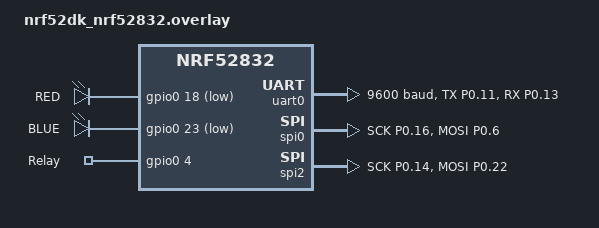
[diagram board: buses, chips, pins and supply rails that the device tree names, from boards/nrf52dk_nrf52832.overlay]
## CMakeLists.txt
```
cmake_minimum_required(VERSION 3.20.0)
find_package(Zephyr REQUIRED HINTS $ENV{ZEPHYR_BASE})
project(lora_tx_water_level)

target_sources(app PRIVATE
	src/main.c
	src/sw_uart.c
	src/sw_uart_rx.c
)
```

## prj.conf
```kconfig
# UART0 (HW) for LoRa — interrupt driven for RX1 capture
CONFIG_SERIAL=y
CONFIG_UART_INTERRUPT_DRIVEN=y
CONFIG_UART_USE_RUNTIME_CONFIGURE=y

# SPI for SW-UART TX2 (SPI1) + TX3 (SPI2)
# PAN 58 only affects RX mode; we use SPIM TX-only so override is safe.
CONFIG_SPI=y
CONFIG_SOC_NRF52832_ALLOW_SPIM_DESPITE_PAN_58=y

# GPIO
CONFIG_GPIO=y

# RTT console for build-time debug (printk goes here, not to LoRa UART)
CONFIG_USE_SEGGER_RTT=y
CONFIG_RTT_CONSOLE=y
CONFIG_UART_CONSOLE=n
CONFIG_CONSOLE=y
CONFIG_PRINTK=y

# Ring buffer for RX byte queuing
CONFIG_RING_BUFFER=y

# Reduce code size
CONFIG_BOOT_BANNER=n
```

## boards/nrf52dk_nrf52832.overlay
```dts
/*
 * UTTEC BLE Module — Modbus(HW UART) + LoRa SW-UART (TX, 2026-06-07 final)
 *
 *   HW UART0 (P0.15 TX / P0.02 RX, 9600 8N1) → MAX485 (RS485 Modbus) ★ 정확성 우선
 *   SPI1 MOSI (P0.11)  → SW-UART LoRa TX (9600) → E22 RXD
 *   SPI0 MOSI (P0.06)  → SW-UART USB-VCOM (9600) display
 *   SPI2 MOSI (P0.22)  → SW-UART Debug (115200)
 *
 *   J28 14pin 핀맵 (사용자 박제 2026-06-09 — Pin 11/13 추가):
 *     Pin 1  P0.11  LoRa E22 RXD ← SPI1 MOSI (SW-UART)
 *     Pin 2  P0.15  MAX485 DI ← HW UART0 TX
 *     Pin 3  P0.13  (unused — TX만, LoRa RX 없음)
 *     Pin 4  P0.02  MAX485 RO → HW UART0 RX
 *     Pin 5  (미확정)
 *     Pin 6  P0.17  LoRa M0 (Normal = LOW)
 *     Pin 7  P0.22  Debug TX (SPI2 MOSI)
 *     Pin 8  P0.19  LoRa M1 (Normal = LOW)
 *     Pin 9  P0.24  MAX485 DE/RE
 *     Pin 10 P0.20  LoRa AUX
 *     Pin 11 3.3V   전원 ⭐
 *     Pin 12 P0.04  Relay (active low buzzer, level<400 → ON)
 *     Pin 13 GND    접지 ⭐
 *     Pin 14 (미확정)
 *
 *   E22 setup: 별도 (lora_test_tx 또는 lora_read_reg에서 1회 setup 후 유지).
 *   REG0=0x60 (9600 + 0.3k air), REG1=0x00 (max 30 dBm), REG2=0x48 (CH72).
 */

&pinctrl {
	/* UART0 default = LoRa (TX=P0.11, RX=P0.13) — main role.
	 * RS485 (P0.15/P0.02)는 PSEL runtime 변경으로 임시 사용. */
	uart0_default: uart0_default {
		group1 { psels = <NRF_PSEL(UART_TX, 0, 11)>; };
		group2 { psels = <NRF_PSEL(UART_RX, 0, 13)>; bias-pull-up; };
	};

	uart0_sleep: uart0_sleep {
		group1 {
			psels = <NRF_PSEL(UART_TX, 0, 11)>, <NRF_PSEL(UART_RX, 0, 13)>;
			low-power-enable;
		};
	};

	/* SPI1 disabled — P0.11은 UART0 LoRa default가 사용 */

	/* SPI2 MOSI = Debug TX (P0.22, 115200). dummy SCK = P0.14. */
	spi2_default_alt: spi2_default_alt {
		group1 {
			psels = <NRF_PSEL(SPIM_SCK, 0, 14)>, <NRF_PSEL(SPIM_MOSI, 0, 22)>;
			bias-pull-up;
		};
	};

	spi2_sleep_alt: spi2_sleep_alt {
		group1 {
			psels = <NRF_PSEL(SPIM_SCK, 0, 14)>, <NRF_PSEL(SPIM_MOSI, 0, 22)>;
			low-power-enable; bias-pull-up;
		};
	};

	/* SPI0 MOSI = USB-VCOM TX (P0.06, 9600). dummy SCK = P0.16. */
	spi0_default_alt: spi0_default_alt {
		group1 {
			psels = <NRF_PSEL(SPIM_SCK, 0, 16)>, <NRF_PSEL(SPIM_MOSI, 0, 6)>;
			bias-pull-up;
		};
	};

	spi0_sleep_alt: spi0_sleep_alt {
		group1 {
			psels = <NRF_PSEL(SPIM_SCK, 0, 16)>, <NRF_PSEL(SPIM_MOSI, 0, 6)>;
			low-power-enable; bias-pull-up;
		};
	};
};

&uart0 {
	status = "okay";
	current-speed = <9600>;
	pinctrl-0 = <&uart0_default>;
	pinctrl-1 = <&uart0_sleep>;
	pinctrl-names = "default", "sleep";
};

&i2c0 { status = "disabled"; };
&i2c1 { status = "disabled"; };

&spi0 {
	status = "okay"; compatible = "nordic,nrf-spim";
	pinctrl-0 = <&spi0_default_alt>; pinctrl-1 = <&spi0_sleep_alt>;
	pinctrl-names = "default", "sleep";
};

&spi1 { status = "disabled"; };

&spi2 {
	status = "okay"; compatible = "nordic,nrf-spim";
	pinctrl-0 = <&spi2_default_alt>; pinctrl-1 = <&spi2_sleep_alt>;
	pinctrl-names = "default", "sleep";
};

/ {
	aliases {
		uttec-led-red = &uttec_led_red;
		uttec-led-blue = &uttec_led_blue;
		uttec-relay = &uttec_relay;
	};

	uttec_leds {
		compatible = "gpio-leds";
		uttec_led_red: led_red { gpios = <&gpio0 18 GPIO_ACTIVE_LOW>; label = "RED"; };
		uttec_led_blue: led_blue { gpios = <&gpio0 23 GPIO_ACTIVE_LOW>; label = "BLUE"; };
	};

	uttec_relays {
		compatible = "gpio-leds";
		uttec_relay: relay_0 { gpios = <&gpio0 4 GPIO_ACTIVE_HIGH>; label = "Relay"; };
	};
};
```

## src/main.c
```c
/*
 * UTTEC BLE Module — Modbus + LoRa TX (time-multiplexed HW UART, 3s cycle, 2026-06-07)
 *
 *   HW UART0 (NRF_UARTE0) 핀맵 동적 전환:
 *     [RS485 phase] PSEL.TXD = P0.15, PSEL.RXD = P0.02 — Modbus 폴링
 *     [LoRa  phase] PSEL.TXD = P0.11, PSEL.RXD = P0.13 — LoRa 송신
 *
 *   매 3초 cycle:
 *     1) RS485 phase: Modbus → QDY30A-B 수위센서 read (HW UART, 정확성)
 *     2) 응답 OK → 메시지 "tx<N>:<level>\r\n" 생성
 *     3) LoRa phase: HW UART로 LoRa E22 송신 (정확성)
 *     4) USB-VCOM, Debug 출력 (SW-UART, cosmetic)
 *     5) LED + Relay toggle, 3초 sleep
 *
 *   TX 노드 ID: TX_NODE_ID (build-time). 1, 2, 3으로 변경 가능.
 *
 *   하드웨어 가정:
 *     E22 already setup (REG0=0x60: 9600 + 0.3k air + 30dBm max)
 *     LoRa M0=M1=LOW (Normal transparent)
 */

#include <zephyr/kernel.h>
#include <zephyr/sys/printk.h>
#include <zephyr/device.h>
#include <zephyr/drivers/gpio.h>
#include <zephyr/drivers/uart.h>
#include <zephyr/sys/ring_buffer.h>
#include <hal/nrf_uarte.h>
#include <stdio.h>
#include <string.h>

#include "sw_uart.h"

#define TX_NODE_ID  1   /* 1, 2, 3 — 빌드 시 변경 가능 */

#define MODBUS_SLAVE     1
#define MODBUS_REG_LEVEL 0x0004
#define MODBUS_TIMEOUT_MS 200

#define CYCLE_MS 3000

#define LORA_M0_PIN     17
#define LORA_M1_PIN     19

#define RS485_TX_PIN  15
#define RS485_RX_PIN   2
#define LORA_TX_PIN   11
#define LORA_RX_PIN   13

/* Relay/buzzer alarm (P0.04, active low — overlay alias uttec_relay는 ACTIVE_HIGH
 * 정의지만 외부 회로가 active low라 raw API로 직접 LOW/HIGH 제어).
 *   level <  ALARM_THRESHOLD → LOW (ON, beep)
 *   level >= ALARM_THRESHOLD → HIGH (OFF)
 * Modbus ERR/timeout 시 상태 유지. */
#define RELAY_PIN          4
#define ALARM_THRESHOLD    400
#define RELAY_ON_LEVEL     0   /* active low */
#define RELAY_OFF_LEVEL    1

static const struct gpio_dt_spec led_red =
	GPIO_DT_SPEC_GET(DT_ALIAS(uttec_led_red), gpios);
static const struct gpio_dt_spec led_blue =
	GPIO_DT_SPEC_GET(DT_ALIAS(uttec_led_blue), gpios);
/* uttec_relay alias 는 ACTIVE_HIGH 정의지만 외부 부저가 active low → raw API 사용 */
static const struct device *gpio0 = DEVICE_DT_GET(DT_NODELABEL(gpio0));
static const struct device *uart0 = DEVICE_DT_GET(DT_NODELABEL(uart0));

static struct sw_uart tx3;  /* SPI2 MOSI = P0.22 → Debug (115200) */
static struct sw_uart tx4;  /* SPI0 MOSI = P0.06 → USB-VCOM (9600) */

RING_BUF_DECLARE(uart_rx_rb, 256);

static void uart0_isr(const struct device *dev, void *user_data)
{
	ARG_UNUSED(user_data);
	while (uart_irq_update(dev) && uart_irq_is_pending(dev)) {
		if (uart_irq_rx_ready(dev)) {
			uint8_t buf[32];
			int n = uart_fifo_read(dev, buf, sizeof(buf));
			if (n > 0) ring_buf_put(&uart_rx_rb, buf, n);
		}
	}
}

/* Time-multiplexing: NRF_UARTE0 PSEL 동적 변경 + STARTRX 명시 trigger.
 * Default (overlay) = LoRa (P0.11/P0.13). RS485 (P0.15/P0.02)는 임시 phase. */
static void uart_switch_pins(uint32_t tx_pin, uint32_t rx_pin)
{
	uart_irq_rx_disable(uart0);

	/* Stop ongoing operations */
	NRF_UARTE0->TASKS_STOPRX = 1;
	NRF_UARTE0->TASKS_STOPTX = 1;
	k_busy_wait(200);

	/* Disable peripheral to allow PSEL write */
	NRF_UARTE0->ENABLE = 0;

	/* Change PSEL */
	NRF_UARTE0->PSEL.TXD = tx_pin;
	NRF_UARTE0->PSEL.RXD = rx_pin;

	/* Re-enable UARTE */
	NRF_UARTE0->ENABLE = 8;

	/* Explicitly start RX (driver might not auto-restart after ENABLE toggle) */
	NRF_UARTE0->TASKS_STARTRX = 1;

	uart_irq_rx_enable(uart0);
	k_busy_wait(2000);  /* longer settle */
}

static void uart_to_rs485(void)
{
	uart_switch_pins(RS485_TX_PIN, RS485_RX_PIN);
}

static void uart_to_lora(void)
{
	uart_switch_pins(LORA_TX_PIN, LORA_RX_PIN);
}

static uint16_t modbus_crc16(const uint8_t *buf, size_t len)
{
	uint16_t crc = 0xFFFF;
	for (size_t i = 0; i < len; i++) {
		crc ^= buf[i];
		for (int b = 0; b < 8; b++) {
			if (crc & 1U) crc = (crc >> 1) ^ 0xA001;
			else crc >>= 1;
		}
	}
	return crc;
}

static void modbus_build_read(uint8_t *out, uint8_t slave, uint16_t addr, uint16_t count)
{
	out[0] = slave;
	out[1] = 0x03;
	out[2] = (uint8_t)(addr >> 8);
	out[3] = (uint8_t)(addr & 0xFF);
	out[4] = (uint8_t)(count >> 8);
	out[5] = (uint8_t)(count & 0xFF);
	uint16_t crc = modbus_crc16(out, 6);
	out[6] = (uint8_t)(crc & 0xFF);
	out[7] = (uint8_t)(crc >> 8);
}

static void rx_drain(void)
{
	uint8_t junk;
	while (ring_buf_get(&uart_rx_rb, &junk, 1) == 1) { }
}

static void uart_send(const uint8_t *data, size_t len)
{
	for (size_t i = 0; i < len; i++) uart_poll_out(uart0, data[i]);
}

static size_t modbus_wait_response(uint8_t *resp, size_t max_len, uint32_t timeout_ms)
{
	size_t n = 0;
	int64_t deadline = k_uptime_get() + timeout_ms;
	int64_t last_rx = 0;
	while (k_uptime_get() < deadline) {
		uint8_t b;
		if (ring_buf_get(&uart_rx_rb, &b, 1) == 1) {
			if (n < max_len) resp[n++] = b;
			last_rx = k_uptime_get();
		} else if (n > 0 && (k_uptime_get() - last_rx) >= 4) {
			return n;
		} else {
			k_msleep(1);
		}
	}
	return n;
}

int main(void)
{
	gpio_pin_configure_dt(&led_red, GPIO_OUTPUT_INACTIVE);
	gpio_pin_configure_dt(&led_blue, GPIO_OUTPUT_INACTIVE);

	/* Buzzer/relay P0.04 active low — 부팅 시 HIGH (OFF) */
	gpio_pin_configure(gpio0, RELAY_PIN, GPIO_OUTPUT_HIGH);

	gpio_pin_configure(gpio0, LORA_M0_PIN, GPIO_OUTPUT_LOW);
	gpio_pin_configure(gpio0, LORA_M1_PIN, GPIO_OUTPUT_LOW);
	k_msleep(50);

	sw_uart_init(&tx3, DEVICE_DT_GET(DT_NODELABEL(spi2)), SW_UART_BAUD_115200);
	sw_uart_init(&tx4, DEVICE_DT_GET(DT_NODELABEL(spi0)), SW_UART_BAUD_9600);

	uart_irq_callback_set(uart0, uart0_isr);
	uart_irq_rx_enable(uart0);

	char banner[80];
	int bn = snprintf(banner, sizeof(banner),
		"\r\nUTTEC TX node %d — time-mux HW UART (RS485+LoRa), 3s cycle\r\n",
		TX_NODE_ID);
	sw_uart_write(&tx3, (const uint8_t *)banner, bn);
	sw_uart_write(&tx4, (const uint8_t *)banner, bn);

	uint8_t req[8];
	modbus_build_read(req, MODBUS_SLAVE, MODBUS_REG_LEVEL, 1);

	uint8_t resp[16];
	char msg[32];
	uint32_t ok = 0, err = 0;
	uint32_t cycle = 0;

	while (1) {
		int64_t cycle_start = k_uptime_get();

		/* USB-VCOM diagnostic: cycle start */
		char hdr[24];
		int hn = snprintf(hdr, sizeof(hdr), "c%u\r\n", (unsigned)cycle);
		sw_uart_write(&tx4, (const uint8_t *)hdr, hn);

		/* === RS485 phase === */
		uart_to_rs485();
		sw_uart_write_str(&tx4, "R\r\n");
		rx_drain();
		uart_send(req, sizeof(req));
		size_t rx_n = modbus_wait_response(resp, sizeof(resp), MODBUS_TIMEOUT_MS);

		/* USB-VCOM diagnostic: Modbus result */
		char res[24];
		int rn = snprintf(res, sizeof(res), "n=%u\r\n", (unsigned)rx_n);
		sw_uart_write(&tx4, (const uint8_t *)res, rn);

		int n;
		int16_t level = 0;
		if (rx_n == 7 && resp[0] == MODBUS_SLAVE && resp[1] == 0x03 && resp[2] == 0x02) {
			uint16_t crc_calc = modbus_crc16(resp, 5);
			uint16_t crc_recv = (uint16_t)resp[5] | ((uint16_t)resp[6] << 8);
			if (crc_calc == crc_recv) {
				level = (int16_t)((resp[3] << 8) | resp[4]);
				n = snprintf(msg, sizeof(msg), "tx%d:%d\r\n", TX_NODE_ID, level);

				/* Alarm: level < 400 → buzzer ON (active low LOW) */
				gpio_pin_set(gpio0, RELAY_PIN,
					level < ALARM_THRESHOLD ? RELAY_ON_LEVEL : RELAY_OFF_LEVEL);

				/* === LoRa phase === */
				uart_to_lora();
				sw_uart_write_str(&tx4, "L\r\n");
				uart_send((const uint8_t *)msg, n);
				k_msleep(50);

				/* USB-VCOM display: actual message */
				sw_uart_write(&tx4, (const uint8_t *)msg, n);
				ok++;
			} else {
				err++;
				sw_uart_write_str(&tx4, "CRC\r\n");
			}
		} else {
			err++;
			/* USB-VCOM: also show raw bytes for diagnostic */
			char raw[48];
			int rwn = snprintf(raw, sizeof(raw), "raw:");
			for (size_t i = 0; i < rx_n && i < 8; i++) {
				rwn += snprintf(raw + rwn, sizeof(raw) - rwn, " %02X", resp[i]);
			}
			rwn += snprintf(raw + rwn, sizeof(raw) - rwn, "\r\n");
			sw_uart_write(&tx4, (const uint8_t *)raw, rwn);
		}

		gpio_pin_toggle_dt(&led_red);
		gpio_pin_toggle_dt(&led_blue);
		cycle++;

		/* Cycle period control */
		int64_t elapsed = k_uptime_get() - cycle_start;
		if (elapsed < CYCLE_MS) {
			k_msleep(CYCLE_MS - elapsed);
		}
	}
	return 0;
}
```
